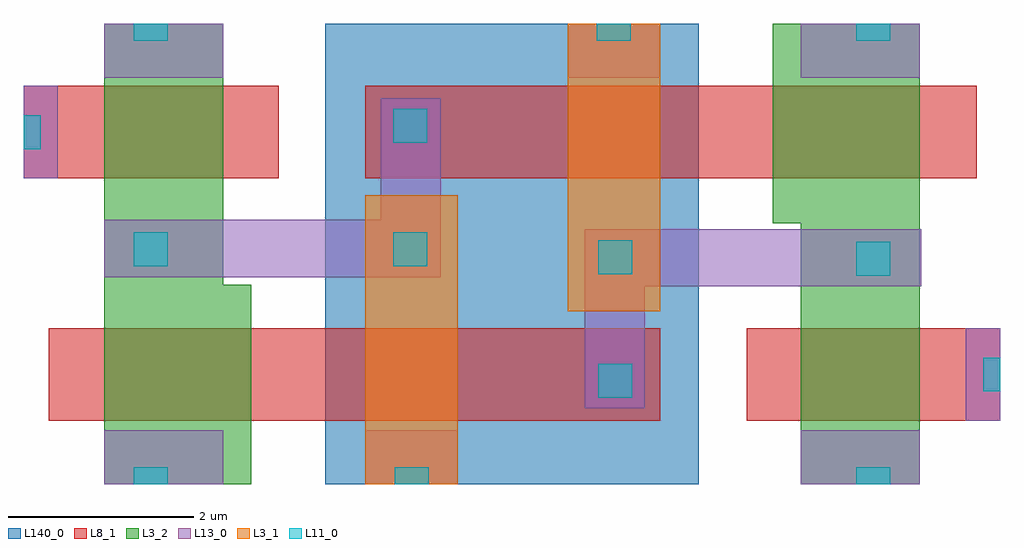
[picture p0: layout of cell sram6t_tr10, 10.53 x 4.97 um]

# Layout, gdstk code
import gdstk
lib = gdstk.Library(unit=1e-6, precision=1e-09)
def R(c, l, rs):  # rectangles x0, y0, x1, y1
    for r in rs: c.add(gdstk.rectangle(r[:2], r[2:], *l))
def P(c, l, *ps):  # polygons
    for p in ps: c.add(gdstk.Polygon(p, *l))
L3_1 = (3, 1)
L3_2 = (3, 2)
L8_1 = (8, 1)
L11_0 = (11, 0)
L13_0 = (13, 0)
L140_0 = (140, 0)

sram6t_tr10 = lib.new_cell('sram6t_tr10')
R(sram6t_tr10, L3_1, [(-3.1,3.567,-2.1,6.683), (-0.917,5.433,0.083,8.533)])
R(sram6t_tr10, L3_2, [(-5.917,3.567,-4.633,8.533), (-4.633,3.567,-4.333,5.717), (1.6,3.567,2.883,8.533), (1.3,6.383,1.6,8.533)])
R(sram6t_tr10, L8_1, [(-6.517,4.25,0.083,5.25), (1.017,4.25,3.75,5.25), (-6.783,6.867,-4.033,7.867), (-3.1,6.867,3.5,7.867)])
R(sram6t_tr10, L11_0, [(-5.6,3.567,-5.233,3.75), (-2.783,3.567,-2.417,3.75), (2.2,3.567,2.567,3.75), (-0.583,4.5,-0.217,4.867), (3.567,4.567,3.75,4.933), (2.2,5.817,2.567,6.183), (-0.583,5.833,-0.217,6.2), (-5.6,5.917,-5.233,6.283), (-2.8,5.917,-2.433,6.283), (-6.783,7.183,-6.6,7.55), (-2.8,7.25,-2.433,7.617), (-5.6,8.35,-5.233,8.533), (-0.6,8.35,-0.233,8.533), (2.2,8.35,2.567,8.533)])
R(sram6t_tr10, L13_0, [(-5.917,3.567,-4.633,4.15), (-3.1,3.567,-2.1,4.15), (1.6,3.567,2.883,4.15), (3.383,4.25,3.75,5.25), (-0.733,4.383,-0.083,6.317), (-0.733,5.7,2.9,6.317), (-5.917,5.8,-2.283,6.417), (-2.933,5.8,-2.283,7.733), (-6.783,6.867,-6.417,7.867), (-5.917,7.95,-4.633,8.533), (-0.917,7.95,0.083,8.533), (1.6,7.95,2.883,8.533)])
P(sram6t_tr10, L140_0, [(-3.533,3.567),(-3.533,8.333),(-3.533,8.533),(0.5,8.533),(0.5,3.567)])

lib.write_gds('sram6t_tr10.gds')
